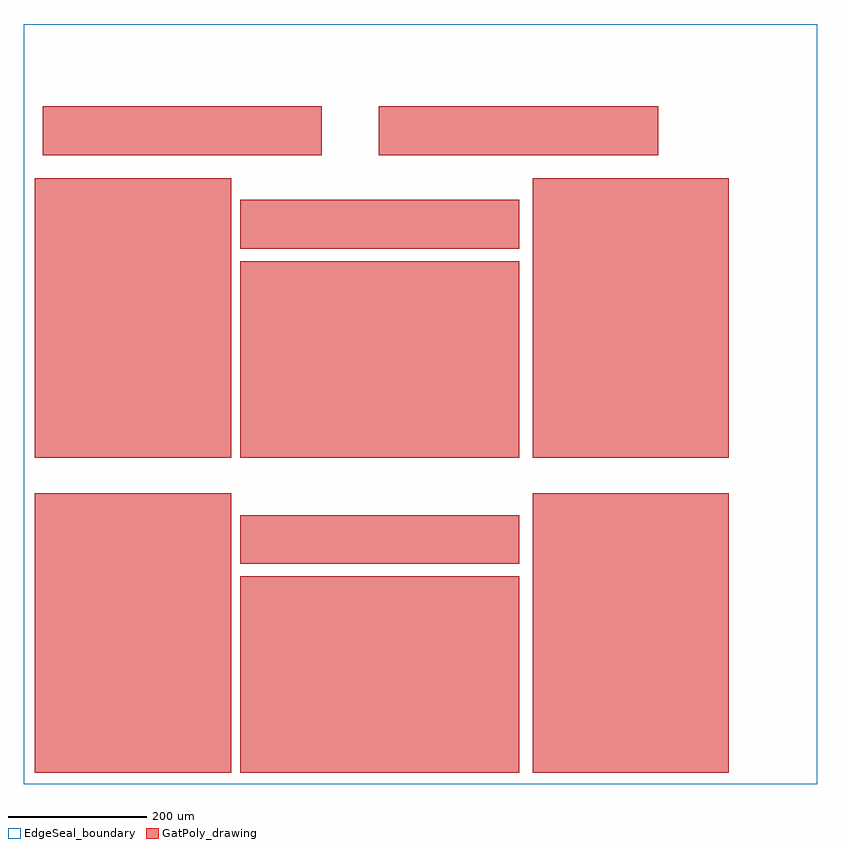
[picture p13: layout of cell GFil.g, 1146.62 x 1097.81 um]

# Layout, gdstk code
import gdstk
lib = gdstk.Library(unit=1e-6, precision=1e-09)
def R(c, l, rs):  # rectangles x0, y0, x1, y1
    for r in rs: c.add(gdstk.rectangle(r[:2], r[2:], *l))
def A(c, l, x, y, w, h, nx, ny, dx, dy):  # array of equal rectangles
    R(c, l, [(x+i*dx, y+j*dy, x+i*dx+w, y+j*dy+h) for i in range(nx) for j in range(ny)])
GatPoly_drawing = (5, 0)
EdgeSeal_boundary = (39, 4)

gfil_g = lib.new_cell('GFil.g')
A(gfil_g, GatPoly_drawing, 16.21, 16.21, 35, 50, 8, 8, 35.5, 50.5)
A(gfil_g, GatPoly_drawing, 735.11, 16.21, 35, 50, 8, 8, 35.5, 50.5)
A(gfil_g, GatPoly_drawing, 312.79, 16.24, 50, 35, 8, 8, 50.5, 35.5)
A(gfil_g, GatPoly_drawing, 312.79, 317.83, 50, 35, 8, 2, 50.5, 35.5)
A(gfil_g, GatPoly_drawing, 16.21, 471.52, 35, 50, 8, 8, 35.5, 50.5)
A(gfil_g, GatPoly_drawing, 735.11, 471.52, 35, 50, 8, 8, 35.5, 50.5)
A(gfil_g, GatPoly_drawing, 312.79, 471.55, 50, 35, 8, 8, 50.5, 35.5)
A(gfil_g, GatPoly_drawing, 312.79, 773.14, 50, 35, 8, 2, 50.5, 35.5)
A(gfil_g, GatPoly_drawing, 27.41, 908.21, 50, 35, 8, 2, 50.5, 35.5)
A(gfil_g, GatPoly_drawing, 513.21, 908.21, 50, 35, 8, 2, 50.5, 35.5)
R(gfil_g, EdgeSeal_boundary, [(0,0,1146.62,1097.81)])

lib.write_gds('GFil.g.gds')
